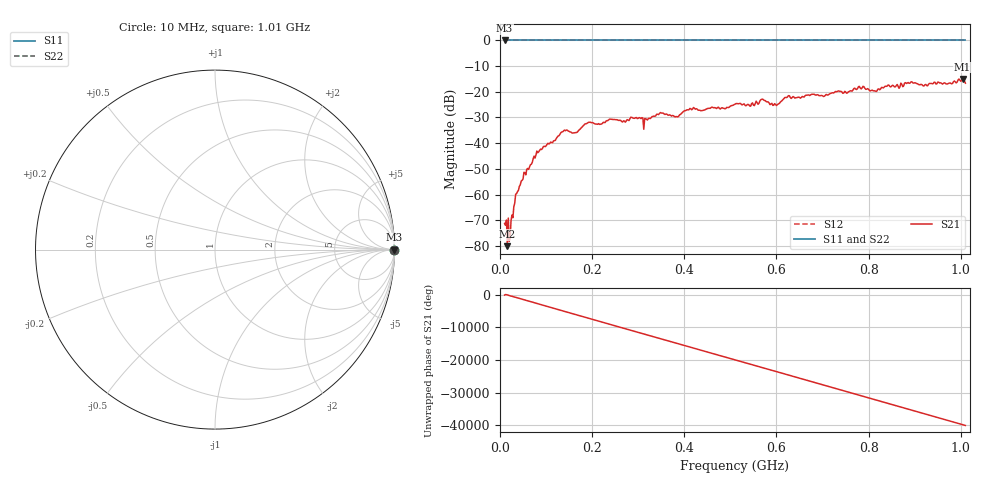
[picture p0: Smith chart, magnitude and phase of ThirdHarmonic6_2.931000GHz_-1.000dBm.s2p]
! 8/17/2025 8:11:14 AM
! C:\ANRITSUVNA\TEMP\TEMP.S2P
! CHANNEL.1
! TR.MEASUREMENT
! RAW.DATA
! RF.CORRECTION.OFF
! AVERAGING.OFF
! IF.BANDWIDTH: 5KHZ
! SWEEPTYPE:  FREQ.SWEEP(Linear)
! Reference Plane Port Info
! PORT:  PORT1  PORT2
! DISTANCE:  0  m  0  m
! TIME:  0  s  0  s
! PHASE.OFFSET:  0  deg.  0  deg.
! LOSS:  0  dB  0  dB
! REF.LOSS:  0  dB  0  dB
! REF.FREQ:  0  Hz  0  Hz
! Power Info
! POWER:  -20  dBm  -20  dBm
! EFF.POWER:  -20  dBm  -20  dBm
! SOURCE.ATTEN:  0  dB  0  dB
! TEST.ATTEN:  0  dB  0  dB
# GHZ S RI R 50.0
! FREQ.GHZ  S11RE  S11IM  S21RE  S21IM  S12RE  S12IM  S22RE  S22IM
!; PortSelection: Port_12
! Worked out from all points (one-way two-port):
!   501 points, 10 MHz to 1.01 GHz, reference 50 ohm
!   highest |S21| = -15.00 dB at 1.004 GHz (marker M1); lowest = -80.1 dB at 16 MHz (marker M2)
!   lowest |S11| = 0.0 dB at 10 MHz (marker M3)
!   |S11| at or under -10 dB: nowhere
!   |S22| runs from 0.0 to 0.0 dB; largest |S21 - S12| = 1.2
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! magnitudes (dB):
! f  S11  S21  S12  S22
! 10 MHz  0.0  -71.3  0.0  0.0
! 16 MHz  0.0  -80.1  0.0  0.0
! 20 MHz  0.0  -78.2  0.0  0.0
! 24 MHz  0.0  -70.0  0.0  0.0
! 30 MHz  0.0  -64.7  0.0  0.0
! 38 MHz  0.0  -58.9  0.0  0.0
! 76 MHz  0.0  -45.8  0.0  0.0
! 136 MHz  0.0  -35.6  0.0  0.0
! 178 MHz  0.0  -33.7  0.0  0.0
! 240 MHz  0.0  -30.6  0.0  0.0
! 316 MHz  0.0  -30.4  0.0  0.0
! 344 MHz  0.0  -28.9  0.0  0.0
! 384 MHz  0.0  -29.7  0.0  0.0
! 416 MHz  0.0  -27.0  0.0  0.0
! 510 MHz  0.0  -24.8  0.0  0.0
! 570 MHz  0.0  -22.9  0.0  0.0
! 596 MHz  0.0  -24.6  0.0  0.0
! 624 MHz  0.0  -22.0  0.0  0.0
! 678 MHz  0.0  -21.0  0.0  0.0
! 844 MHz  0.0  -17.4  0.0  0.0
! 1.004 GHz  0.0  -15.0  0.0  0.0
! 1.01 GHz  0.0  -16.6  0.0  0.0
